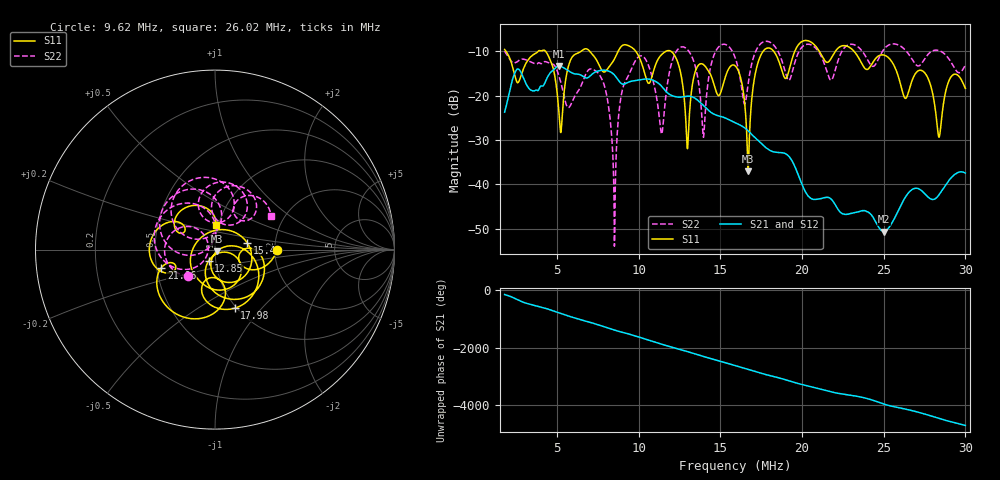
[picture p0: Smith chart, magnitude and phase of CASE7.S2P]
!Agilent Technologies,E5061B,MY49101568,A.02.00
!Date: Wed Mar 01 13:16:55 2023
!Data & Calibration Information:
!Freq	S11:SOLT2(OFF)	S21:SOLT2(OFF)	S12:SOLT2(OFF)	S22:SOLT2(OFF)
# Hz S dB R 50
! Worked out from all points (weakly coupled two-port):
!   1155 points, 1.8 MHz to 30 MHz, reference 50 ohm
!   highest |S21| = -13.34 dB at 5.123 MHz (marker M1); lowest = -50.7 dB at 24.99 MHz (marker M2)
!   lowest |S11| = -37.0 dB at 16.71 MHz (marker M3), VSWR 1.03, Z = 51 - j1.01 ohm
!   |S11| at or under -10 dB: 4.308 MHz to 6.484 MHz (2.177 MHz wide, 40.3 % of centre); 11.98 MHz to 17.62 MHz (5.642 MHz wide, 38.1 % of centre); 23.18 MHz to end of sweep (the widest 3 of 8)
!   |S22| runs from -53.9 to -7.7 dB; largest |S21 - S12| = 0.003
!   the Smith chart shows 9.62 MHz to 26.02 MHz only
!   S11 on the Smith chart (normalised r, x): 9.62 MHz: 2.05, -0.01; 12.85 MHz: 0.93, -0.11; 15.41 MHz: 1.43, +0.11; 17.98 MHz: 0.98, -0.72; 21.06 MHz: 0.53, -0.12; 26.02 MHz: 0.97, +0.27
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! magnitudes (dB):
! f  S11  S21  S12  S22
! 1.8 MHz  -9.6  -23.7  -23.7  -10.0
! 4.317 MHz  -10.0  -16.7  -16.7  -12.3
! 5.123 MHz  -23.7  -13.3  -13.3  -15.6
! 6.516 MHz  -9.9  -15.5  -15.4  -17.5
! 7.86 MHz  -14.7  -14.2  -14.2  -17.2
! 8.52 MHz  -11.8  -15.3  -15.3  -53.9
! 8.911 MHz  -9.0  -17.2  -17.1  -20.5
! 9.62 MHz  -9.2  -16.7  -16.7  -13.5
! 11.21 MHz  -11.7  -17.2  -17.2  -23.1
! 12.85 MHz  -23.0  -20.2  -20.3  -9.2
! 13.97 MHz  -13.0  -22.2  -22.2  -29.4
! 15.41 MHz  -14.8  -25.2  -25.3  -8.6
! 15.9 MHz  -13.2  -26.1  -26.1  -11.3
! 16.71 MHz  -37.0  -27.9  -27.9  -17.2
! 17.98 MHz  -9.3  -32.2  -32.3  -7.9
! 20.62 MHz  -8.1  -43.3  -43.2  -8.7
! 21.06 MHz  -10.0  -43.3  -43.2  -10.3
! 24.99 MHz  -10.8  -50.7  -50.6  -9.7
! 25.31 MHz  -11.5  -49.8  -49.7  -8.6
! 26.02 MHz  -17.2  -45.0  -44.9  -8.8
! 28.39 MHz  -29.4  -42.3  -42.3  -9.8
! 30 MHz  -18.4  -37.4  -37.4  -13.1
